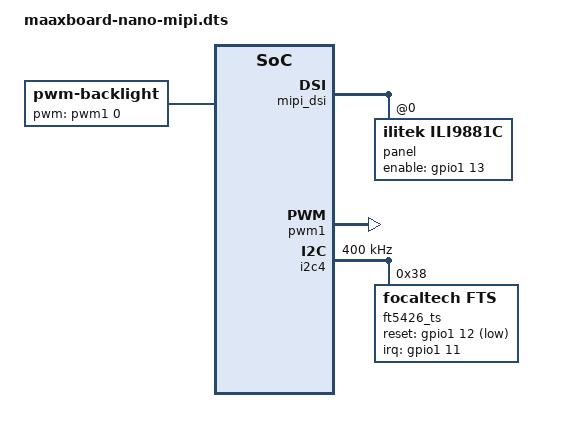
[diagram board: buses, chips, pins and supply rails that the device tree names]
/*
 * Copyright 2020 EMBEST
 *
 * This program is free software; you can redistribute it and/or
 * modify it under the terms of the GNU General Public License
 * as published by the Free Software Foundation; either version 2
 * of the License, or (at your option) any later version.
 *
 * This program is distributed in the hope that it will be useful,
 * but WITHOUT ANY WARRANTY; without even the implied warranty of
 * MERCHANTABILITY or FITNESS FOR A PARTICULAR PURPOSE.  See the
 * GNU General Public License for more details.
 */

#include "maaxboard-nano.dtsi"
#include "maaxboard-nano-extended-gpio.dtsi"

/ {
	backlight {
			compatible = "pwm-backlight";
			pwms = <&pwm1 0 40000 0>;
			brightness-levels = <0 8 32 64 96 128 160 192 224 255>;
			default-brightness-level = <8>;
			status = "okay";
	};
};

&mipi_dsi {
	status = "okay";

	panel@0 {
		compatible = "ilitek,ili9881c";
		reg = <0>;
		pinctrl-0 = <&pinctrl_mipi_dsi_en>;
		enable-gpio = <&gpio1 13 GPIO_ACTIVE_HIGH>;
		dsi-lanes = <2>;
		status = "okay";
	};
};

&iomuxc {
	imx8mn-evk {
		pinctrl_mipi_dsi_en: mipi_dsi_en {
			fsl,pins = <
				MX8MN_IOMUXC_GPIO1_IO13_GPIO1_IO13		  0x16  /* DSI_EN */
			>;
		};

		pinctrl_pwm1: pwm1_grp {
			fsl,pins = <
				MX8MN_IOMUXC_GPIO1_IO08_PWM1_OUT   0x06
			>;
		};

		pinctrl_ts_ft5426: ft5426_pinsgrp {
			fsl,pins = <
				MX8MN_IOMUXC_GPIO1_IO11_GPIO1_IO11  0x19 /* DSI_TS_nINT */
				MX8MN_IOMUXC_GPIO1_IO12_GPIO1_IO12   0x19 /* DSI_TS_RST */
			>;
		};
	};
};

&pwm1 {
        pinctrl-names = "default";
        pinctrl-0 = <&pinctrl_pwm1>;
        status = "okay";
};

&i2c4 {
	clock-frequency = <400000>;
	pinctrl-names = "default";
	pinctrl-0 = <&pinctrl_i2c4>;
	status = "okay";

	ft5426_ts@38 {
		compatible = "focaltech,fts";
		reg = <0x38>;
		pinctrl-0 = <&pinctrl_ts_ft5426>;

		interrupt-parent = <&gpio1>;
		interrupts = <11 2>;
		focaltech,reset-gpio = <&gpio1 12 0x01>;
		focaltech,irq-gpio = <&gpio1 11 0x02>;
		focaltech,max-touch-number = <10>;
		focaltech,panel-type = <0x54260002>;/* _FT5426 */
		focaltech,display-coords =  <0 0 720 1280>;
		focaltech,have-key;
		focaltech,key-number = <3>;
		focaltech,keys = <139 102 158>;
		focaltech,key-y-coord = <2000>;
		focaltech,key-x-coords = <200 600 800>;
	}; 
};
